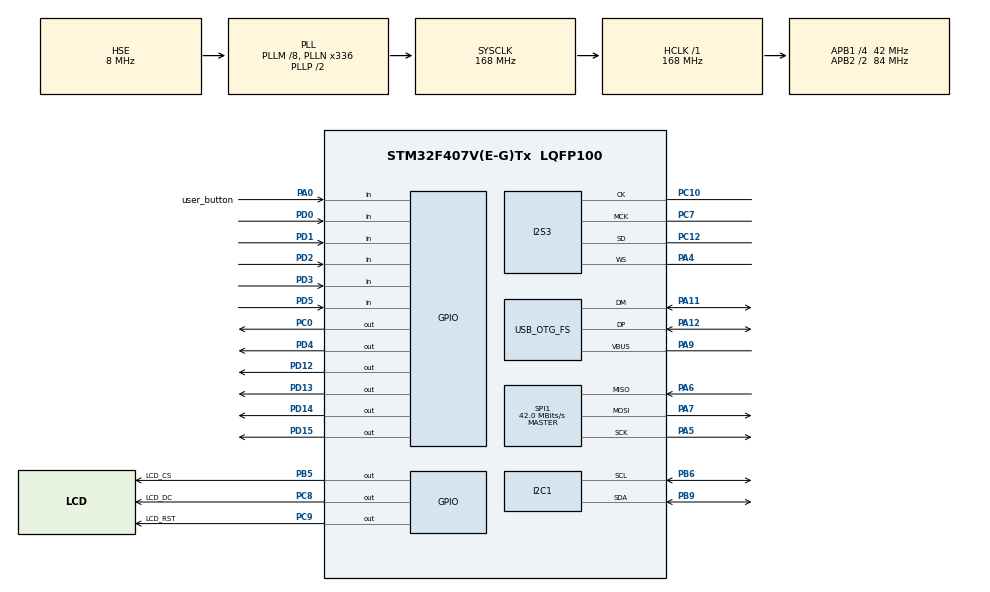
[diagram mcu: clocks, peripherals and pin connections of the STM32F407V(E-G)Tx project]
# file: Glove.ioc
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Dma.Request0=SPI3_TX
Dma.SPI3_TX.0.Direction=DMA_MEMORY_TO_PERIPH
Dma.SPI3_TX.0.FIFOMode=DMA_FIFOMODE_ENABLE
Dma.SPI3_TX.0.FIFOThreshold=DMA_FIFO_THRESHOLD_FULL
Dma.SPI3_TX.0.Instance=DMA1_Stream5
Dma.SPI3_TX.0.MemBurst=DMA_MBURST_SINGLE
Dma.SPI3_TX.0.MemDataAlignment=DMA_MDATAALIGN_HALFWORD
Dma.SPI3_TX.0.MemInc=DMA_MINC_ENABLE
Dma.SPI3_TX.0.Mode=DMA_CIRCULAR
Dma.SPI3_TX.0.PeriphBurst=DMA_PBURST_SINGLE
Dma.SPI3_TX.0.PeriphDataAlignment=DMA_PDATAALIGN_HALFWORD
Dma.SPI3_TX.0.PeriphInc=DMA_PINC_DISABLE
Dma.SPI3_TX.0.Priority=DMA_PRIORITY_LOW
I2S3.AudioFreq=I2S_AUDIOFREQ_44K
I2S3.ErrorAudioFreq=0.24 %
I2S3.FullDuplexMode=I2S_FULLDUPLEXMODE_DISABLE
I2S3.Instance=SPI$Index
I2S3.RealAudioFreq=44.108 KHz
I2S3.VirtualMode=I2S_MODE_MASTER
Mcu.Family=STM32F4
Mcu.Name=STM32F407V(E-G)Tx
Mcu.Package=LQFP100
NVIC.DMA1_Stream5_IRQn=true\:0\:0\:false\:false\:true\:false\:true
NVIC.OTG_FS_IRQn=true\:0\:0\:false\:false\:true\:false\:true
NVIC.PriorityGroup=NVIC_PRIORITYGROUP_0
NVIC.TIM2_IRQn=true\:0\:0\:false\:false\:true\:true\:true
NVIC.TIM7_IRQn=true\:0\:0\:false\:false\:true\:true\:true
PA0-WKUP.GPIO_Label=user_button
PA0-WKUP.Signal=GPIO_Input
PA11.Mode=Host_Only
PA11.Signal=USB_OTG_FS_DM
PA12.Mode=Host_Only
PA12.Signal=USB_OTG_FS_DP
PA4.Mode=Half_Duplex_Master
PA4.Signal=I2S3_WS
PA5.Mode=Full_Duplex_Master
PA5.Signal=SPI1_SCK
PA6.Mode=Full_Duplex_Master
PA6.Signal=SPI1_MISO
PA7.Mode=Full_Duplex_Master
PA7.Signal=SPI1_MOSI
PA9.Mode=Activate_VBUS
PA9.Signal=USB_OTG_FS_VBUS
PB5.GPIO_Label=LCD_CS
PB5.Signal=GPIO_Output
PB6.Mode=I2C
PB6.Signal=I2C1_SCL
PB9.Mode=I2C
PB9.Signal=I2C1_SDA
PC0.Signal=GPIO_Output
PC10.Mode=Half_Duplex_Master
PC10.Signal=I2S3_CK
PC12.Mode=Half_Duplex_Master
PC12.Signal=I2S3_SD
PC7.Mode=Master_Clock_Activated
PC7.Signal=I2S3_MCK
PC8.GPIO_Label=LCD_DC
PC8.Signal=GPIO_Output
PC9.GPIO_Label=LCD_RST
PC9.Signal=GPIO_Output
PD0.GPIO_PuPd=GPIO_PULLDOWN
PD0.Signal=GPIO_Input
PD1.GPIO_PuPd=GPIO_PULLDOWN
PD1.Signal=GPIO_Input
PD12.Signal=GPIO_Output
PD13.Signal=GPIO_Output
PD14.Signal=GPIO_Output
PD15.Signal=GPIO_Output
PD2.GPIO_PuPd=GPIO_PULLDOWN
PD2.Signal=GPIO_Input
PD3.GPIO_PuPd=GPIO_PULLDOWN
PD3.Signal=GPIO_Input
PD4.Signal=GPIO_Output
PD5.GPIO_PuPd=GPIO_PULLDOWN
PD5.Signal=GPIO_Input
PH0-OSC_IN.Mode=HSE-External-Oscillator
PH0-OSC_IN.Signal=RCC_OSC_IN
PH1-OSC_OUT.Mode=HSE-External-Oscillator
PH1-OSC_OUT.Signal=RCC_OSC_OUT
ProjectManager.HeapSize=0x200
ProjectManager.StackSize=0x400
ProjectManager.TargetToolchain=STM32CubeIDE
RCC.48MHZClocksFreq_Value=48000000
RCC.AHBFreq_Value=168000000
RCC.APB1CLKDivider=RCC_HCLK_DIV4
RCC.APB1Freq_Value=42000000
RCC.APB1TimFreq_Value=84000000
RCC.APB2CLKDivider=RCC_HCLK_DIV2
RCC.APB2Freq_Value=84000000
RCC.APB2TimFreq_Value=168000000
RCC.CortexFreq_Value=168000000
RCC.HCLKFreq_Value=168000000
RCC.HSE_VALUE=8000000
RCC.HSI_VALUE=16000000
RCC.LSE_VALUE=32768
RCC.PLLI2SN=271
RCC.PLLI2SR=6
RCC.PLLM=8
RCC.PLLN=336
RCC.PLLQ=7
RCC.SYSCLKFreq_VALUE=168000000
RCC.SYSCLKSource=RCC_SYSCLKSOURCE_PLLCLK
RCC.VCOOutputFreq_Value=336000000
SPI1.CalculateBaudRate=42.0 MBits/s
SPI1.Direction=SPI_DIRECTION_2LINES
SPI1.Mode=SPI_MODE_MASTER
SPI1.VirtualType=VM_MASTER
TIM2.Period=599
TIM2.Prescaler=25599
TIM7.Period=1000 - 1
TIM7.Prescaler=10000 - 1
USB_HOST.USBH_HandleTypeDef-MSC_FS=hUsbHostFS
USB_HOST.VirtualModeFS=Msc
USB_OTG_FS.VirtualMode=Host_Only
USB_OTG_FS.phy_itface=HCD_PHY_EMBEDDED
VP_FATFS_VS_USB.Mode=USB
VP_TIM2_VS_ClockSourceINT.Mode=Internal
VP_TIM7_VS_ClockSourceINT.Mode=Enable_Timer
VP_USB_HOST_VS_USB_HOST_MSC_FS.Mode=MSC_FS
board=STM32F407G-DISC1

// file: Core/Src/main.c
/* USER CODE BEGIN Header */
/**
  ******************************************************************************
  * @file           : main.c
  * @brief          : Main program body
  ******************************************************************************
  * @attention
  *
  * <h2><center>&copy; Copyright (c) 2020 STMicroelectronics.
  * All rights reserved.</center></h2>
  *
  * This software component is licensed by ST under Ultimate Liberty license
  * SLA0044, the "License"; You may not use this file except in compliance with
  * the License. You may obtain a copy of the License at:
  *                             www.st.com/SLA0044
  *
  ******************************************************************************
  */
/* USER CODE END Header */
#include "main.h"
#include "fatfs.h"
#include "usb_host.h"

/* USER CODE BEGIN Includes */
#include "audioI2S.h"
#include "MY_CS43L22.h"
#include "wav_player.h"
#include "game_arr.h"
#include "score_board.h"
#include "debounce.h"
#include "sb_input.h"
/* USER CODE END Includes */

/* USER CODE BEGIN PD */
enum state_type{MENU, GAME, SCOREBOARD, ENTER_NAME, END_GAME};
enum music_status_enum {PLAYING, STOP};
enum menu_option_enum {NO_USB, MENU_SB, START_GAME, MENU_SET_UP};
#define WAV_FILE1 "cello.wav"
/* USER CODE END PD */

I2C_HandleTypeDef hi2c1;

I2S_HandleTypeDef hi2s3;
DMA_HandleTypeDef hdma_spi3_tx;

SPI_HandleTypeDef hspi1;

TIM_HandleTypeDef htim2;
TIM_HandleTypeDef htim7;

void SystemClock_Config(void);
static void MX_GPIO_Init(void);
static void MX_DMA_Init(void);
static void MX_SPI1_Init(void);
static void MX_TIM2_Init(void);
static void MX_I2C1_Init(void);
static void MX_I2S3_Init(void);
static void MX_TIM7_Init(void);
void MX_USB_HOST_Process(void);

/* USER CODE BEGIN PFP */
void music();
void arr_update(game_arr * arr);
void print_board(scoreboard * input_sb);
void menu_page_setup(void);
void HAL_TIM_PeriodElapsedCallback(TIM_HandleTypeDef *htim);
/* USER CODE END PFP */

/* USER CODE BEGIN 0 */
uint8_t screen[ILI9341_WIDTH *2];
game_arr g_arr;

int start_cycle_x = 25;
int start_cycle_y = 25;

int game_setup = 0; //if the game has been set up or not
enum state_type state = MENU;
enum music_status_enum music_status = STOP;
enum menu_option_enum menu_option = MENU_SET_UP;
enum menu_option_enum menu_option_next = NO_USB;
bool isMounted = 0;

short game_score = 0;
char buffer [3];

extern ApplicationTypeDef Appli_state;
scoreboard board;
char buf[20];
bool sb_set_up = false; //scoreboard setup

uint8_t history_index[HISTORY_NUM];
uint8_t history_thumb[HISTORY_NUM];
uint8_t history_middle[HISTORY_NUM];
uint8_t history_ring[HISTORY_NUM];
uint8_t history_little[HISTORY_NUM];
uint8_t bent_ref[HISTORY_NUM];

/* USER CODE END 0 */

int main(void)
{
  /* USER CODE BEGIN 1 */
  /* MCU Configuration--------------------------------------------------------*/

  /* Reset of all peripherals, Initializes the Flash interface and the Systick. */
  HAL_Init();

  /* USER CODE BEGIN Init */
  for(int lcv = 0; lcv < ILI9341_WIDTH *2; lcv ++) {
  		screen[lcv] = 0;
  	}
  /* USER CODE END Init */

  /* Configure the system clock */
  SystemClock_Config();

  /* USER CODE BEGIN SysInit */

  /* USER CODE END SysInit */

  /* Initialize all configured peripherals */
  MX_GPIO_Init();
  MX_DMA_Init();
  MX_SPI1_Init();
  MX_TIM2_Init();
  MX_I2C1_Init();
  MX_I2S3_Init();
  MX_FATFS_Init();
  MX_USB_HOST_Init();

  ILI9341_Init(&hspi1, LCD_CS_GPIO_Port, LCD_CS_Pin,LCD_DC_GPIO_Port, LCD_DC_Pin, LCD_RST_GPIO_Port, LCD_RST_Pin);
  ILI9341_setRotation(0);

  CS43_Init(hi2c1, MODE_I2S);
  CS43_SetVolume(230);//0-255
  CS43_Enable_RightLeft(CS43_RIGHT_LEFT);
  /* USER CODE END 1 */

//  /* MCU Configuration--------------------------------------------------------*/
//
//  /* Reset of all peripherals, Initializes the Flash interface and the Systick. */
//  HAL_Init();
//
//  /* USER CODE BEGIN Init */
//  for(int lcv = 0; lcv < ILI9341_WIDTH *2; lcv ++) {
//  		screen[lcv] = 0;
//  	}
//  /* USER CODE END Init */
//
//  /* Configure the system clock */
//  SystemClock_Config();
//
//  /* USER CODE BEGIN SysInit */
//
//  /* USER CODE END SysInit */
//
//  /* Initialize all configured peripherals */
//  MX_GPIO_Init();
//  MX_DMA_Init();
//  MX_SPI1_Init();
//  MX_TIM2_Init();
//  MX_I2C1_Init();
//  MX_I2S3_Init();
//  MX_FATFS_Init();
//  MX_USB_HOST_Init();
  MX_TIM7_Init();
  /* USER CODE BEGIN 2 */
  menu_page_setup();
  scoreboard_init(&board);
  audioI2S_setHandle(&hi2s3);
  init_debounce(history_index, bent_ref);
  init_debounce(history_thumb, bent_ref);
  init_debounce(history_middle, bent_ref);
  init_debounce(history_ring, bent_ref);
  init_debounce(history_little, bent_ref);
  /* USER CODE END 2 */

  /* Infinite loop */
  while (1)
  {
//    MX_USB_HOST_Process();

    /* USER CODE BEGIN 3 */

	  if(state == MENU) {
		  update_debounce(history_index, HAL_GPIO_ReadPin(GPIOD, GPIO_PIN_1));
		  update_debounce(history_thumb, HAL_GPIO_ReadPin(GPIOD, GPIO_PIN_0));
		  if(menu_option == NO_USB) {
			  if(isMounted) { //state transition
				  menu_option = MENU_SET_UP;
				  menu_option_next = START_GAME;
			  }
		  }
		  else if(menu_option == START_GAME) {
			  if(isMounted == 0) { //state transition
				  menu_option = MENU_SET_UP;
				  menu_option_next = NO_USB;
			  }
			  else if(match_bent(history_thumb, bent_ref)) {
				  state = GAME;
				  game_setup = 0;
			  } else if(match_bent(history_index, bent_ref)) { //state transition
				  menu_option = MENU_SET_UP;
				  menu_option_next = MENU_SB;
			  }
		  }
		  else if(menu_option == MENU_SB) {
			  if(isMounted == 0) { //state transition
				  menu_option = MENU_SET_UP;
				  menu_option_next = NO_USB;
			  }
			  else if(match_bent(history_thumb, bent_ref)) {
				  state = SCOREBOARD;
			  } else if(match_bent(history_index, bent_ref)) { //state transition
				  menu_option = MENU_SET_UP;
				  menu_option_next = START_GAME;
			  }
		  }
		  menu_page_setup();
	  }
	  //test button and changes on screen
	  else if (state == GAME){
		  if(!game_setup) {
			  ILI9341_Fill(screen);
			  HAL_TIM_Base_Start_IT(&htim7);
			  game_setup = 1;
		  }
		  int ptr = g_arr.head;
		  while(ptr != MAX_LINE) {
//		          arr->lines[ptr].y_pos++;
		          ILI9341_Fill_Black_Line(g_arr.lines[ptr].y_pos - 10);
		          ILI9341_Fill_Line(&g_arr.lines[ptr].pattern, g_arr.lines[ptr].y_pos + 10);
		          ptr = g_arr.lines[ptr].next;
		  }
		  sprintf(buffer, "%d", game_score);
		  ILI9341_printGameScore(buffer, 190, 20, COLOR_GREEN, COLOR_RED, 3);
//		  test_track++;
		  //test the situation when game ends
		  //should be deleted
		  if (music_status == STOP){
			HAL_TIM_Base_Stop_IT(&htim7);
			ILI9341_Fill(screen);
			state = ENTER_NAME;
//			test_track = 0;
			game_setup = 0;
		  }
	  }
	  else if( state == ENTER_NAME) {
		  game_end(game_score);
		  game_score = 0;
		  state = END_GAME;
		  ILI9341_Fill(screen);
	  }
	  else if(state == END_GAME) {
		  state = MENU;
		  menu_option = MENU_SET_UP;
	  }
	  else if (state == SCOREBOARD){
		  if(!sb_set_up) {
			ILI9341_Fill(screen);
			ILI9341_printText("Scoreboard", 50, 20, COLOR_GREEN, COLOR_GREEN, 2);
			print_board(&board);
			sb_set_up = true;
		  }
//		scoreboard_update(&board, "P1", 2, game_score);
		if(HAL_GPIO_ReadPin(GPIOD, GPIO_PIN_0)) {
			state = MENU;
			menu_option = MENU_SET_UP;
			menu_option_next = MENU_SB;
			sb_set_up = false;
		}
	  }

	  MX_USB_HOST_Process();
	  music();

  }
  /* USER CODE END 3 */
}

void SystemClock_Config(void)
{
  RCC_OscInitTypeDef RCC_OscInitStruct = {0};
  RCC_ClkInitTypeDef RCC_ClkInitStruct = {0};
  RCC_PeriphCLKInitTypeDef PeriphClkInitStruct = {0};

  /** Configure the main internal regulator output voltage
  */
  __HAL_RCC_PWR_CLK_ENABLE();
  __HAL_PWR_VOLTAGESCALING_CONFIG(PWR_REGULATOR_VOLTAGE_SCALE1);
  /** Initializes the RCC Oscillators according to the specified parameters
  * in the RCC_OscInitTypeDef structure.
  */
  RCC_OscInitStruct.OscillatorType = RCC_OSCILLATORTYPE_HSE;
  RCC_OscInitStruct.HSEState = RCC_HSE_ON;
  RCC_OscInitStruct.PLL.PLLState = RCC_PLL_ON;
  RCC_OscInitStruct.PLL.PLLSource = RCC_PLLSOURCE_HSE;
  RCC_OscInitStruct.PLL.PLLM = 8;
  RCC_OscInitStruct.PLL.PLLN = 336;
  RCC_OscInitStruct.PLL.PLLP = RCC_PLLP_DIV2;
  RCC_OscInitStruct.PLL.PLLQ = 7;
  if (HAL_RCC_OscConfig(&RCC_OscInitStruct) != HAL_OK)
  {
    Error_Handler();
  }
  /** Initializes the CPU, AHB and APB buses clocks
  */
  RCC_ClkInitStruct.ClockType = RCC_CLOCKTYPE_HCLK|RCC_CLOCKTYPE_SYSCLK
                              |RCC_CLOCKTYPE_PCLK1|RCC_CLOCKTYPE_PCLK2;
  RCC_ClkInitStruct.SYSCLKSource = RCC_SYSCLKSOURCE_PLLCLK;
  RCC_ClkInitStruct.AHBCLKDivider = RCC_SYSCLK_DIV1;
  RCC_ClkInitStruct.APB1CLKDivider = RCC_HCLK_DIV4;
  RCC_ClkInitStruct.APB2CLKDivider = RCC_HCLK_DIV2;

  if (HAL_RCC_ClockConfig(&RCC_ClkInitStruct, FLASH_LATENCY_5) != HAL_OK)
  {
    Error_Handler();
  }
  PeriphClkInitStruct.PeriphClockSelection = RCC_PERIPHCLK_I2S;
  PeriphClkInitStruct.PLLI2S.PLLI2SN = 271;
  PeriphClkInitStruct.PLLI2S.PLLI2SR = 6;
  if (HAL_RCCEx_PeriphCLKConfig(&PeriphClkInitStruct) != HAL_OK)
  {
    Error_Handler();
  }
}

static void MX_I2C1_Init(void)
{

  hi2c1.Instance = I2C1;
  hi2c1.Init.ClockSpeed = 100000;
  hi2c1.Init.DutyCycle = I2C_DUTYCYCLE_2;
  hi2c1.Init.OwnAddress1 = 0;
  hi2c1.Init.AddressingMode = I2C_ADDRESSINGMODE_7BIT;
  hi2c1.Init.DualAddressMode = I2C_DUALADDRESS_DISABLE;
  hi2c1.Init.OwnAddress2 = 0;
  hi2c1.Init.GeneralCallMode = I2C_GENERALCALL_DISABLE;
  hi2c1.Init.NoStretchMode = I2C_NOSTRETCH_DISABLE;
  if (HAL_I2C_Init(&hi2c1) != HAL_OK)
  {
    Error_Handler();
  }

}

static void MX_I2S3_Init(void)
{

  hi2s3.Instance = SPI3;
  hi2s3.Init.Mode = I2S_MODE_MASTER_TX;
  hi2s3.Init.Standard = I2S_STANDARD_PHILIPS;
  hi2s3.Init.DataFormat = I2S_DATAFORMAT_16B;
  hi2s3.Init.MCLKOutput = I2S_MCLKOUTPUT_ENABLE;
  hi2s3.Init.AudioFreq = I2S_AUDIOFREQ_44K;
  hi2s3.Init.CPOL = I2S_CPOL_LOW;
  hi2s3.Init.ClockSource = I2S_CLOCK_PLL;
  hi2s3.Init.FullDuplexMode = I2S_FULLDUPLEXMODE_DISABLE;
  if (HAL_I2S_Init(&hi2s3) != HAL_OK)
  {
    Error_Handler();
  }

}

static void MX_SPI1_Init(void)
{

  /* SPI1 parameter configuration*/
  hspi1.Instance = SPI1;
  hspi1.Init.Mode = SPI_MODE_MASTER;
  hspi1.Init.Direction = SPI_DIRECTION_2LINES;
  hspi1.Init.DataSize = SPI_DATASIZE_8BIT;
  hspi1.Init.CLKPolarity = SPI_POLARITY_LOW;
  hspi1.Init.CLKPhase = SPI_PHASE_1EDGE;
  hspi1.Init.NSS = SPI_NSS_SOFT;
  hspi1.Init.BaudRatePrescaler = SPI_BAUDRATEPRESCALER_2;
  hspi1.Init.FirstBit = SPI_FIRSTBIT_MSB;
  hspi1.Init.TIMode = SPI_TIMODE_DISABLE;
  hspi1.Init.CRCCalculation = SPI_CRCCALCULATION_DISABLE;
  hspi1.Init.CRCPolynomial = 10;
  if (HAL_SPI_Init(&hspi1) != HAL_OK)
  {
    Error_Handler();
  }

}

static void MX_TIM2_Init(void)
{

  TIM_ClockConfigTypeDef sClockSourceConfig = {0};
  TIM_MasterConfigTypeDef sMasterConfig = {0};

  htim2.Instance = TIM2;
  htim2.Init.Prescaler = 25599;
  htim2.Init.CounterMode = TIM_COUNTERMODE_UP;
  htim2.Init.Period = 599;
  htim2.Init.ClockDivision = TIM_CLOCKDIVISION_DIV1;
  htim2.Init.AutoReloadPreload = TIM_AUTORELOAD_PRELOAD_DISABLE;
  if (HAL_TIM_Base_Init(&htim2) != HAL_OK)
  {
    Error_Handler();
  }
  sClockSourceConfig.ClockSource = TIM_CLOCKSOURCE_INTERNAL;
  if (HAL_TIM_ConfigClockSource(&htim2, &sClockSourceConfig) != HAL_OK)
  {
    Error_Handler();
  }
  sMasterConfig.MasterOutputTrigger = TIM_TRGO_RESET;
  sMasterConfig.MasterSlaveMode = TIM_MASTERSLAVEMODE_DISABLE;
  if (HAL_TIMEx_MasterConfigSynchronization(&htim2, &sMasterConfig) != HAL_OK)
  {
    Error_Handler();
  }

}

static void MX_TIM7_Init(void)
{

  TIM_MasterConfigTypeDef sMasterConfig = {0};

  htim7.Instance = TIM7;
  htim7.Init.Prescaler = 1000 - 1;
  htim7.Init.CounterMode = TIM_COUNTERMODE_UP;
  htim7.Init.Period = 1000 - 1;
  htim7.Init.AutoReloadPreload = TIM_AUTORELOAD_PRELOAD_DISABLE;
  if (HAL_TIM_Base_Init(&htim7) != HAL_OK)
  {
    Error_Handler();
  }
  sMasterConfig.MasterOutputTrigger = TIM_TRGO_RESET;
  sMasterConfig.MasterSlaveMode = TIM_MASTERSLAVEMODE_DISABLE;
  if (HAL_TIMEx_MasterConfigSynchronization(&htim7, &sMasterConfig) != HAL_OK)
  {
    Error_Handler();
  }

}

static void MX_DMA_Init(void)
{

  /* DMA controller clock enable */
  __HAL_RCC_DMA1_CLK_ENABLE();

  /* DMA interrupt init */
  /* DMA1_Stream5_IRQn interrupt configuration */
  HAL_NVIC_SetPriority(DMA1_Stream5_IRQn, 0, 0);
  HAL_NVIC_EnableIRQ(DMA1_Stream5_IRQn);

}

static void MX_GPIO_Init(void)
{
  GPIO_InitTypeDef GPIO_InitStruct = {0};

  /* GPIO Ports Clock Enable */
  __HAL_RCC_GPIOH_CLK_ENABLE();
  __HAL_RCC_GPIOC_CLK_ENABLE();
  __HAL_RCC_GPIOA_CLK_ENABLE();
  __HAL_RCC_GPIOD_CLK_ENABLE();
  __HAL_RCC_GPIOB_CLK_ENABLE();

  /*Configure GPIO pin Output Level */
  HAL_GPIO_WritePin(GPIOC, GPIO_PIN_0|LCD_DC_Pin|LCD_RST_Pin, GPIO_PIN_RESET);

  /*Configure GPIO pin Output Level */
  HAL_GPIO_WritePin(GPIOD, GPIO_PIN_12|GPIO_PIN_13|GPIO_PIN_14|GPIO_PIN_15
                          |GPIO_PIN_4, GPIO_PIN_RESET);

  /*Configure GPIO pin Output Level */
  HAL_GPIO_WritePin(LCD_CS_GPIO_Port, LCD_CS_Pin, GPIO_PIN_RESET);

  /*Configure GPIO pins : PC0 LCD_DC_Pin LCD_RST_Pin */
  GPIO_InitStruct.Pin = GPIO_PIN_0|LCD_DC_Pin|LCD_RST_Pin;
  GPIO_InitStruct.Mode = GPIO_MODE_OUTPUT_PP;
  GPIO_InitStruct.Pull = GPIO_NOPULL;
  GPIO_InitStruct.Speed = GPIO_SPEED_FREQ_LOW;
  HAL_GPIO_Init(GPIOC, &GPIO_InitStruct);

  /*Configure GPIO pin : user_button_Pin */
  GPIO_InitStruct.Pin = user_button_Pin;
  GPIO_InitStruct.Mode = GPIO_MODE_INPUT;
  GPIO_InitStruct.Pull = GPIO_NOPULL;
  HAL_GPIO_Init(user_button_GPIO_Port, &GPIO_InitStruct);

  /*Configure GPIO pins : PD12 PD13 PD14 PD15
                           PD4 */
  GPIO_InitStruct.Pin = GPIO_PIN_12|GPIO_PIN_13|GPIO_PIN_14|GPIO_PIN_15
                          |GPIO_PIN_4;
  GPIO_InitStruct.Mode = GPIO_MODE_OUTPUT_PP;
  GPIO_InitStruct.Pull = GPIO_NOPULL;
  GPIO_InitStruct.Speed = GPIO_SPEED_FREQ_LOW;
  HAL_GPIO_Init(GPIOD, &GPIO_InitStruct);

  /*Configure GPIO pins : PD0 PD1 PD2 PD3
                           PD5 */
  GPIO_InitStruct.Pin = GPIO_PIN_0|GPIO_PIN_1|GPIO_PIN_2|GPIO_PIN_3
                          |GPIO_PIN_5;
  GPIO_InitStruct.Mode = GPIO_MODE_INPUT;
  GPIO_InitStruct.Pull = GPIO_NOPULL;
  HAL_GPIO_Init(GPIOD, &GPIO_InitStruct);

  /*Configure GPIO pin : LCD_CS_Pin */
  GPIO_InitStruct.Pin = LCD_CS_Pin;
  GPIO_InitStruct.Mode = GPIO_MODE_OUTPUT_PP;
  GPIO_InitStruct.Pull = GPIO_NOPULL;
  GPIO_InitStruct.Speed = GPIO_SPEED_FREQ_LOW;
  HAL_GPIO_Init(LCD_CS_GPIO_Port, &GPIO_InitStruct);

}

/* USER CODE BEGIN 4 */
//void HAL_TIM_PeriodElapsedCallback(TIM_HandleTypeDef *htim)
//{
//  /* Prevent unused argument(s) compilation warning */
//  if(htim->Instance == TIM2){
//	  for (int i = 0; i < 15; i++){
//		  ILI9341_fillCircle(start_cycle_x,start_cycle_y + 15 * tim2_i, 10, COLOR_RED);
//		  ILI9341_fillCircle(start_cycle_x,start_cycle_y + 15 * tim2_i, 10, COLOR_BLACK);
////	  tim2_i++;
////	  if (tim2_i == 14) {HAL_TIM_Base_Stop(&htim2);}
//	  }
//	  HAL_TIM_Base_Stop(&htim2);
//  }
//
//  /* NOTE : This function should not be modified, when the callback is needed,
//            the HAL_TIM_PeriodElapsedCallback could be implemented in the user file
//   */
//}

void menu_page_setup(void){
	//menu page setup
//	ILI9341_Fill(screen);
//    ILI9341_printText("GLOVE", 50, 100, COLOR_GREEN, COLOR_GREEN, 5);
    if(menu_option == MENU_SET_UP){
    	ILI9341_Fill(screen);
		ILI9341_printText("GLOVE", 50, 100, COLOR_GREEN, COLOR_GREEN, 5);
		menu_option = menu_option_next;
    }
    else if(menu_option == NO_USB) {
    	ILI9341_printText("Please", 70, 180, COLOR_GREEN, COLOR_RED, 2);
    	ILI9341_printText("Insert USB", 50, 220, COLOR_GREEN, COLOR_RED, 2);
    }
    else if(menu_option == START_GAME) {
    	ILI9341_printText("Start Game", 50, 180, COLOR_GREEN, COLOR_RED, 2);
    	ILI9341_printText("ScoreBoard", 50, 220, COLOR_GREEN, COLOR_BLACK, 2);
//		HAL_Delay(300);
    }
    else if(menu_option == MENU_SB) {
    	ILI9341_printText("Start Game", 50, 180, COLOR_GREEN, COLOR_BLACK, 2);
		ILI9341_printText("ScoreBoard", 50, 220, COLOR_GREEN, COLOR_RED, 2);
//		HAL_Delay(300);
    }

    return;
}

void music() {
		if(Appli_state == APPLICATION_START) {
			HAL_GPIO_WritePin(GPIOD, GPIO_PIN_12, GPIO_PIN_SET);
		}
		else if(Appli_state == APPLICATION_DISCONNECT) {
		  HAL_GPIO_WritePin(GPIOD, GPIO_PIN_12, GPIO_PIN_RESET);
		  f_mount(NULL, (TCHAR const*)"", 0);
		  isMounted = 0;
		}

		if(Appli_state == APPLICATION_READY) {
			HAL_GPIO_WritePin(GPIOD, GPIO_PIN_13, GPIO_PIN_SET);
			if(!isMounted){
				f_mount(&USBHFatFS, (const TCHAR*) USBHPath, 0);
				isMounted = 1;
			}

			if(state == GAME) {
				if(music_status == STOP){
					uint8_t seed;

					HAL_GPIO_WritePin(GPIOD, GPIO_PIN_13, GPIO_PIN_SET);
					wavPlayer_fileSelect(WAV_FILE1, &seed);
					game_arr_init(&g_arr, seed);
					wavPlayer_play();
					music_status = PLAYING;
				} else {
					if(wavPlayer_isFinished()) {
//						state = MENU;
						music_status = STOP;
						wavPlayer_stop();
						HAL_GPIO_WritePin(GPIOD, GPIO_PIN_13, GPIO_PIN_RESET);
					} else {
						wavPlayer_process();
					}
				}
			}
		}
}

void arr_update(game_arr * arr) {
	int un_match = 0;
    //condition to generate a new line
    if(arr->lines[arr->head].y_pos >= 90) {
        new_line(arr);
    }
    uint8_t ptr = arr->head; // linked list traverse pointer
    while(ptr != MAX_LINE) {
        arr->lines[ptr].y_pos++;
//        ILI9341_Fill_Black_Line(arr->lines[ptr].y_pos - 10);
//        ILI9341_Fill_Line(&arr->lines[ptr], arr->lines[ptr].y_pos + 10);
        un_match = 0;
		if(HEIGHT > arr->lines[ptr].y_pos && arr->lines[ptr].y_pos > 270){
			if (HAL_GPIO_ReadPin(GPIOD, GPIO_PIN_0) ^ arr->lines[ptr].pattern[0]){
				un_match = 1;
//				arr->lines[ptr].pattern[0] = 0x0;
			}
			if (HAL_GPIO_ReadPin(GPIOD, GPIO_PIN_1) ^ arr->lines[ptr].pattern[1]){
				un_match = 1;
//				arr->lines[ptr].pattern[1] = 0x0;
			}
			if (HAL_GPIO_ReadPin(GPIOD, GPIO_PIN_2) ^ arr->lines[ptr].pattern[2]){
				un_match = 1;
//				arr->lines[ptr].pattern[2] = 0x0;
			}
			if (HAL_GPIO_ReadPin(GPIOD, GPIO_PIN_3) ^ arr->lines[ptr].pattern[3]){
				un_match = 1;
//				arr->lines[ptr].pattern[3] = 0x0;
			}
			int test1 = HAL_GPIO_ReadPin(GPIOD, GPIO_PIN_5);
			int test2 =  arr->lines[ptr].pattern[4];
			if (HAL_GPIO_ReadPin(GPIOD, GPIO_PIN_5) ^ arr->lines[ptr].pattern[4]){
				un_match = 1;
//				arr->lines[ptr].pattern[4] = 0x0;
			}

			if (!un_match){
				if(arr->lines[ptr].score) {
					game_score++;
					arr->lines[ptr].pattern[0] = 0x0;
					arr->lines[ptr].pattern[1] = 0x0;
					arr->lines[ptr].pattern[2] = 0x0;
					arr->lines[ptr].pattern[3] = 0x0;
					arr->lines[ptr].pattern[4] = 0x0;
					arr->lines[ptr].score = 0;
				}
				arr->lines[ptr].next = MAX_LINE;
			}
		}
        if(arr->lines[arr->lines[ptr].next].y_pos >= HEIGHT) {
            arr->lines[ptr].next = MAX_LINE;
        }

        ptr = arr->lines[ptr].next;
    }
}

void print_board(scoreboard * input_sb) {
    for(short lcv = 0; lcv < MAX_PLAYER; lcv++) {
        to_string(&(input_sb->players[lcv]), input_sb->buf);
        ILI9341_printText(input_sb->buf, 50, 80 + lcv * 20, COLOR_GREEN, COLOR_BLACK, 2);
    }
    ILI9341_printText("Bent thumb to go back", 50, 300, COLOR_GREEN, COLOR_BLACK, 1);
}

void HAL_TIM_PeriodElapsedCallback(TIM_HandleTypeDef *htim)
{
  // Check which version of the timer triggered this callback and toggle LED
  if (htim == &htim7 )
  {
	  arr_update(&g_arr);
    HAL_GPIO_TogglePin(GPIOD, GPIO_PIN_11);
  }
}
/* USER CODE END 4 */

void Error_Handler(void)
{
}

/************************ (C) COPYRIGHT STMicroelectronics *****END OF FILE****/
